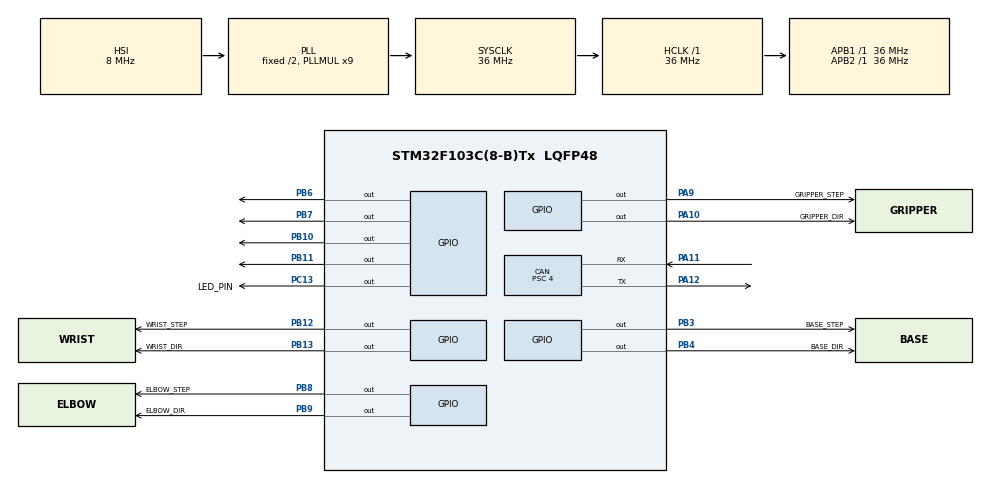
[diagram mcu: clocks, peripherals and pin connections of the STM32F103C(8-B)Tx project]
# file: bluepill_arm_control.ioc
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CAN.BS1=CAN_BS1_15TQ
CAN.BS2=CAN_BS2_2TQ
CAN.CalculateBaudRate=500000
CAN.CalculateTimeBit=2000
CAN.CalculateTimeQuantum=111.11111111111111
CAN.NART=ENABLE
CAN.Prescaler=4
CAN.SJW=CAN_SJW_2TQ
Mcu.Family=STM32F1
Mcu.Name=STM32F103C(8-B)Tx
Mcu.Package=LQFP48
NVIC.PriorityGroup=NVIC_PRIORITYGROUP_4
NVIC.USB_LP_CAN1_RX0_IRQn=true\:0\:0\:false\:false\:true\:true\:true\:true
PA10.GPIO_Label=GRIPPER_DIR
PA10.Signal=GPIO_Output
PA11.Mode=CAN_Activate
PA11.Signal=CAN_RX
PA12.Mode=CAN_Activate
PA12.Signal=CAN_TX
PA13.Mode=Serial_Wire
PA13.Signal=SYS_JTMS-SWDIO
PA14.Mode=Serial_Wire
PA14.Signal=SYS_JTCK-SWCLK
PA9.GPIO_Label=GRIPPER_STEP
PA9.Signal=GPIO_Output
PB10.Signal=GPIO_Output
PB11.Signal=GPIO_Output
PB12.GPIO_Label=WRIST_STEP
PB12.Signal=GPIO_Output
PB13.GPIO_Label=WRIST_DIR
PB13.Signal=GPIO_Output
PB3.GPIO_Label=BASE_STEP
PB3.Signal=GPIO_Output
PB4.GPIO_Label=BASE_DIR
PB4.Signal=GPIO_Output
PB6.Signal=GPIO_Output
PB7.Signal=GPIO_Output
PB8.GPIO_Label=ELBOW_STEP
PB8.Signal=GPIO_Output
PB9.GPIO_Label=ELBOW_DIR
PB9.Signal=GPIO_Output
PC13-TAMPER-RTC.GPIO_Label=LED_PIN
PC13-TAMPER-RTC.Signal=GPIO_Output
PD0-OSC_IN.Mode=HSE-External-Oscillator
PD0-OSC_IN.Signal=RCC_OSC_IN
PD1-OSC_OUT.Mode=HSE-External-Oscillator
PD1-OSC_OUT.Signal=RCC_OSC_OUT
ProjectManager.HeapSize=0x200
ProjectManager.StackSize=0x400
ProjectManager.TargetToolchain=STM32CubeIDE
RCC.AHBFreq_Value=36000000
RCC.APB1Freq_Value=36000000
RCC.APB1TimFreq_Value=36000000
RCC.APB2Freq_Value=36000000
RCC.APB2TimFreq_Value=36000000
RCC.HCLKFreq_Value=36000000
RCC.HSEDivPLL=RCC_HSE_PREDIV_DIV2
RCC.HSE_VALUE=16000000
RCC.PLLMUL=RCC_PLL_MUL9
RCC.SYSCLKFreq_VALUE=36000000
RCC.SYSCLKSource=RCC_SYSCLKSOURCE_PLLCLK
RCC.USBFreq_Value=36000000
board=custom

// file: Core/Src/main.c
/* USER CODE BEGIN Header */
/**
  ******************************************************************************
  * @file           : main.c
  * @brief          : Main program body
  ******************************************************************************
  * @attention
  *
  * Copyright (c) 2024 STMicroelectronics.
  * All rights reserved.
  *
  * This software is licensed under terms that can be found in the LICENSE file
  * in the root directory of this software component.
  * If no LICENSE file comes with this software, it is provided AS-IS.
  *
  ******************************************************************************
  */
/* USER CODE END Header */
#include "main.h"

/* USER CODE BEGIN PTD */

//ENUM MUST MATCH DESIRED JOINT IDs
//ORDER IS NOT ABRITRARY
typedef enum
{
	RAD_JOINT_WRIST_FLEX = 0,
	RAD_JOINT_GRIPPER,
	RAD_JOINT_BASE,
	RAD_JOINT_ELBOW,
	RAD_JOINT_WRIST_ROTATE,
	RAD_JOINT_SHOULDER
} RAD_JOINT_NUMBER;

typedef struct
{
	RAD_JOINT_NUMBER id;
	GPIO_TypeDef *step_port;
	uint16_t step_pin;
	GPIO_TypeDef *dir_port;
	uint16_t dir_pin;
	uint16_t isHigh;

} RAD_JOINT;

/* USER CODE END PTD */

CAN_HandleTypeDef hcan;

/* USER CODE BEGIN PV */

CAN_TxHeaderTypeDef TxHeader;
uint8_t TxData[8];
uint32_t TxMailbox;

// CAN Rx
CAN_FilterTypeDef canfilterconfig;
CAN_RxHeaderTypeDef RxHeader;
uint8_t RxData[8];
int speed;
uint32_t can_timer;
uint32_t cycle_timer;

uint32_t half_cycle_time_us = 1000;

uint8_t can_id = 0x18;

RAD_JOINT_NUMBER mostRecentJointId;
RAD_JOINT *mostRecentJoint;

/* USER CODE END PV */

void SystemClock_Config(void);
static void MX_GPIO_Init(void);
static void MX_CAN_Init(void);

/* USER CODE BEGIN 0 */

void setupTxCAN()
{
    TxHeader.StdId = 0x321;
    TxHeader.ExtId = can_id;
    TxHeader.RTR = CAN_RTR_DATA;
    TxHeader.IDE = CAN_ID_EXT;
    TxHeader.DLC = 8;
    TxHeader.TransmitGlobalTime = DISABLE;

    TxData[0] = 0xA0;
    TxData[1] = 0xA1;
    TxData[2] = 0xA2;
    TxData[3] = 0xA3;
    TxData[4] = 0xA4;
    TxData[5] = 0xA5;
    TxData[6] = 0xA6;
    TxData[7] = 0xA9;
}

void setupRxCAN()
{
    canfilterconfig.FilterBank = 0;
    canfilterconfig.FilterMode = CAN_FILTERMODE_IDMASK;
    canfilterconfig.FilterScale = CAN_FILTERSCALE_32BIT;
    canfilterconfig.FilterIdHigh = 0x0000;
    canfilterconfig.FilterIdLow = ((can_id) << 8 | 0x0054) << 3;
    canfilterconfig.FilterMaskIdHigh = 0x0000;
    canfilterconfig.FilterMaskIdLow = (0x78FE) << 3;
    canfilterconfig.FilterFIFOAssignment = CAN_RX_FIFO0;
    canfilterconfig.FilterActivation = ENABLE;
    canfilterconfig.SlaveStartFilterBank = 14;

    HAL_CAN_ConfigFilter(&hcan, &canfilterconfig);
    HAL_CAN_ActivateNotification(&hcan, CAN_IT_RX_FIFO0_MSG_PENDING); //enable interrupts
}

void txCAN()
{
    HAL_StatusTypeDef can_result = HAL_CAN_AddTxMessage(&hcan, &TxHeader, TxData, &TxMailbox);

    if (can_result != HAL_OK)
    {
        Error_Handler();
    }
}

void HAL_CAN_RxFifo0MsgPendingCallback(CAN_HandleTypeDef *CanHandle)
{
    /* Get RX message */
    if (HAL_CAN_GetRxMessage(CanHandle, CAN_RX_FIFO0, &RxHeader, RxData)
            != HAL_OK)
    {
        /* Reception Error */
        Error_Handler();
    }

    can_timer = 0;

//    HAL_GPIO_TogglePin(GPIOB, GPIO_PIN_2);
    // Echo received CAN message

    //RxData[7] = RxData[7] + 1;
    HAL_CAN_AddTxMessage(&hcan, &TxHeader, RxData, &TxMailbox);

    if ((RxHeader.ExtId & 0xFF) == 0x54)
    {
    	//counter clockwise

    	if (RxData[7] != 0)
    	{
    		speed = 0 + RxData[7];
    	}
    	else
    	{
    		speed = 0;
    	}

    	mostRecentJointId = (RxHeader.ExtId & 0x700) >> 8;
    }
    else if ((RxHeader.ExtId & 0xFF) == 0x55)
    {
    	//clockwise clockwise

    	if (RxData[7] != 0)
    	{
    		speed = 0 - RxData[7];
    	}
    	else
    	{
    		speed = 0;
    	}

    	mostRecentJointId = (RxHeader.ExtId & 0x700) >> 8;
    }

}

uint32_t getUs(void)
{

    uint32_t usTicks = HAL_RCC_GetSysClockFreq() / 1000000;

    register uint32_t ms, cycle_cnt;
    do
    {
        ms = HAL_GetTick();
        cycle_cnt = SysTick->VAL;
    } while (ms != HAL_GetTick());
    return (ms * 1000) + (usTicks * 1000 - cycle_cnt) / usTicks;
}

void delayUs(uint16_t micros)
{
    uint32_t start = getUs();
    while (getUs() - start < (uint32_t) micros)
    {
        asm("nop");
    }
}

/* USER CODE END 0 */

int main(void)
{

  /* USER CODE BEGIN 1 */
	RAD_JOINT base = (RAD_JOINT){RAD_JOINT_BASE, BASE_STEP_GPIO_Port, BASE_STEP_Pin, BASE_DIR_GPIO_Port, BASE_DIR_Pin};
	RAD_JOINT elbow  = (RAD_JOINT){RAD_JOINT_ELBOW, ELBOW_STEP_GPIO_Port, ELBOW_STEP_Pin, ELBOW_DIR_GPIO_Port, ELBOW_DIR_Pin, 0};
	RAD_JOINT wrist  = (RAD_JOINT){RAD_JOINT_WRIST_FLEX, WRIST_STEP_GPIO_Port, WRIST_STEP_Pin, WRIST_DIR_GPIO_Port, WRIST_DIR_Pin};
	RAD_JOINT gripper  = (RAD_JOINT){RAD_JOINT_GRIPPER, GRIPPER_STEP_GPIO_Port, GRIPPER_STEP_Pin, GRIPPER_DIR_GPIO_Port, GRIPPER_DIR_Pin};

  /* USER CODE END 1 */

  /* MCU Configuration--------------------------------------------------------*/

  /* Reset of all peripherals, Initializes the Flash interface and the Systick. */
  HAL_Init();

  /* Configure the system clock */
  SystemClock_Config();

  /* Initialize all configured peripherals */
  MX_GPIO_Init();
  MX_CAN_Init();
  /* USER CODE BEGIN 2 */

  setupTxCAN();
  setupRxCAN();

	uint32_t prev = 0;
    uint32_t delay;

  /* USER CODE END 2 */

  /* Infinite loop */
  /* USER CODE BEGIN WHILE */
  while (1)
  {
	  can_timer += HAL_GetTick() - prev;
	  cycle_timer += HAL_GetTick() - prev;
	  prev = HAL_GetTick();

	  if (can_timer % 1000)
	  {
		  TxData[5] = mostRecentJoint->id;
		  TxData[6] = speed;
		  TxData[7] = mostRecentJoint->isHigh;
		  txCAN();
		  HAL_GPIO_TogglePin(LED_PIN_GPIO_Port, LED_PIN_Pin);

	  }

	  if (speed != 0 || can_timer > 4000)
	  {
		  //CAN timeout
		  speed = 0;
	  }

	  //mostRecentJointId = 3;
	  switch (mostRecentJointId)
	  {
		  case RAD_JOINT_BASE:
		  {
			  mostRecentJoint = &base;
			  break;
		  }
		  case RAD_JOINT_WRIST_FLEX:
		  {
			  mostRecentJoint = &wrist;
			  break;
		  }
		  case RAD_JOINT_ELBOW:
		  {
			  mostRecentJoint = &elbow;
			  break;
		  }
		  case RAD_JOINT_GRIPPER:
		  {
			  mostRecentJoint = &gripper;
			  break;
		  }
		  default:
			  speed = 0;
			  break;

	  }

	  //speed = 0;

//	  HAL_GPIO_WritePin(GPIOB, GPIO_PIN_10, GPIO_PIN_SET);
//	  HAL_GPIO_WritePin(GPIOB, GPIO_PIN_11, GPIO_PIN_SET);
//
//	  HAL_GPIO_WritePin(GPIOA, GPIO_PIN_9, GPIO_PIN_SET);
//	  HAL_GPIO_WritePin(GPIOA, GPIO_PIN_10, GPIO_PIN_SET);
//
//	  HAL_GPIO_WritePin(GPIOB, GPIO_PIN_6, GPIO_PIN_SET);
//	  HAL_GPIO_WritePin(GPIOB, GPIO_PIN_7, GPIO_PIN_SET);
//	  HAL_GPIO_WritePin(GPIOB, GPIO_PIN_8, GPIO_PIN_SET);
//	  HAL_GPIO_WritePin(GPIOB, GPIO_PIN_9, GPIO_PIN_SET);
//	  HAL_GPIO_WritePin(GPIOB, GPIO_PIN_12, GPIO_PIN_SET);
//	  HAL_GPIO_WritePin(GPIOB, GPIO_PIN_13, GPIO_PIN_SET);
//
//	  HAL_Delay(1000);
//
//	  HAL_GPIO_WritePin(GPIOB, GPIO_PIN_10, GPIO_PIN_RESET);
//	  	  HAL_GPIO_WritePin(GPIOB, GPIO_PIN_11, GPIO_PIN_RESET);
//
//	  	  HAL_GPIO_WritePin(GPIOA, GPIO_PIN_9, GPIO_PIN_RESET);
//	  	  HAL_GPIO_WritePin(GPIOA, GPIO_PIN_10, GPIO_PIN_RESET);
//
//	  	 HAL_GPIO_WritePin(GPIOB, GPIO_PIN_6, GPIO_PIN_RESET);
//	  		  HAL_GPIO_WritePin(GPIOB, GPIO_PIN_7, GPIO_PIN_RESET);
//	  		  HAL_GPIO_WritePin(GPIOB, GPIO_PIN_8, GPIO_PIN_RESET);
//	  		  HAL_GPIO_WritePin(GPIOB, GPIO_PIN_9, GPIO_PIN_RESET);
//	  		  HAL_GPIO_WritePin(GPIOB, GPIO_PIN_12, GPIO_PIN_RESET);
//	  		  HAL_GPIO_WritePin(GPIOB, GPIO_PIN_13, GPIO_PIN_RESET);

	  	//HAL_Delay(1000);

	delay = 3.9*(255 - speed) + 3; //arbitrary speed calculation

	  if (speed > 0)
	  {

		  HAL_GPIO_WritePin(mostRecentJoint->dir_port, mostRecentJoint->dir_pin, GPIO_PIN_SET);

		  if (cycle_timer > delay && mostRecentJoint->isHigh)
		  {
			  HAL_GPIO_WritePin(mostRecentJoint->step_port, mostRecentJoint->step_pin, GPIO_PIN_RESET);
			  mostRecentJoint->isHigh = 0;
			  cycle_timer = 0;
		  }
		  else if (cycle_timer > delay && !(mostRecentJoint->isHigh))
		  {
			  HAL_GPIO_WritePin(mostRecentJoint->step_port, mostRecentJoint->step_pin, GPIO_PIN_SET);
			  mostRecentJoint->isHigh = 1;
			  cycle_timer = 0;
		  }
	  }
	  else if (speed < 0)
	  {

		  HAL_GPIO_WritePin(mostRecentJoint->dir_port, mostRecentJoint->dir_pin, GPIO_PIN_RESET);

		  if (cycle_timer > delay && mostRecentJoint->isHigh)
		  {
			  HAL_GPIO_WritePin(mostRecentJoint->step_port, mostRecentJoint->step_pin, GPIO_PIN_RESET);
			  mostRecentJoint->isHigh = 0;
			  cycle_timer = 0;
		  }
		  else if (cycle_timer > delay && !(mostRecentJoint->isHigh))
		  {
			  HAL_GPIO_WritePin(mostRecentJoint->step_port, mostRecentJoint->step_pin, GPIO_PIN_SET);
			  mostRecentJoint->isHigh = 1;
			  cycle_timer = 0;
		  }
	  }

//
//

    /* USER CODE END WHILE */

  }
}

void SystemClock_Config(void)
{
  RCC_OscInitTypeDef RCC_OscInitStruct = {0};
  RCC_ClkInitTypeDef RCC_ClkInitStruct = {0};

  /** Initializes the RCC Oscillators according to the specified parameters
  * in the RCC_OscInitTypeDef structure.
  */
  RCC_OscInitStruct.OscillatorType = RCC_OSCILLATORTYPE_HSI;
  RCC_OscInitStruct.HSIState = RCC_HSI_ON;
  RCC_OscInitStruct.HSICalibrationValue = RCC_HSICALIBRATION_DEFAULT;
  RCC_OscInitStruct.PLL.PLLState = RCC_PLL_ON;
  RCC_OscInitStruct.PLL.PLLSource = RCC_PLLSOURCE_HSI_DIV2;
  RCC_OscInitStruct.PLL.PLLMUL = RCC_PLL_MUL9;
  if (HAL_RCC_OscConfig(&RCC_OscInitStruct) != HAL_OK)
  {
    Error_Handler();
  }

  /** Initializes the CPU, AHB and APB buses clocks
  */
  RCC_ClkInitStruct.ClockType = RCC_CLOCKTYPE_HCLK|RCC_CLOCKTYPE_SYSCLK
                              |RCC_CLOCKTYPE_PCLK1|RCC_CLOCKTYPE_PCLK2;
  RCC_ClkInitStruct.SYSCLKSource = RCC_SYSCLKSOURCE_PLLCLK;
  RCC_ClkInitStruct.AHBCLKDivider = RCC_SYSCLK_DIV1;
  RCC_ClkInitStruct.APB1CLKDivider = RCC_HCLK_DIV1;
  RCC_ClkInitStruct.APB2CLKDivider = RCC_HCLK_DIV1;

  if (HAL_RCC_ClockConfig(&RCC_ClkInitStruct, FLASH_LATENCY_1) != HAL_OK)
  {
    Error_Handler();
  }
}

static void MX_CAN_Init(void)
{

  hcan.Instance = CAN1;
  hcan.Init.Prescaler = 4;
  hcan.Init.Mode = CAN_MODE_NORMAL;
  hcan.Init.SyncJumpWidth = CAN_SJW_2TQ;
  hcan.Init.TimeSeg1 = CAN_BS1_15TQ;
  hcan.Init.TimeSeg2 = CAN_BS2_2TQ;
  hcan.Init.TimeTriggeredMode = DISABLE;
  hcan.Init.AutoBusOff = DISABLE;
  hcan.Init.AutoWakeUp = DISABLE;
  hcan.Init.AutoRetransmission = ENABLE;
  hcan.Init.ReceiveFifoLocked = DISABLE;
  hcan.Init.TransmitFifoPriority = DISABLE;
  if (HAL_CAN_Init(&hcan) != HAL_OK)
  {
    Error_Handler();
  }
  /* USER CODE BEGIN CAN_Init 2 */

  if (HAL_CAN_Start(&hcan) != HAL_OK)
{
	/* Start Error */
	Error_Handler();
}

  /* USER CODE END CAN_Init 2 */

}

static void MX_GPIO_Init(void)
{
  GPIO_InitTypeDef GPIO_InitStruct = {0};
/* USER CODE BEGIN MX_GPIO_Init_1 */
  //__HAL_RCC_AFIO_CLK_ENABLE();
  __HAL_AFIO_REMAP_SWJ_NOJTAG();
/* USER CODE END MX_GPIO_Init_1 */

  /* GPIO Ports Clock Enable */
  __HAL_RCC_GPIOC_CLK_ENABLE();
  __HAL_RCC_GPIOD_CLK_ENABLE();
  __HAL_RCC_GPIOB_CLK_ENABLE();
  __HAL_RCC_GPIOA_CLK_ENABLE();

  /*Configure GPIO pin Output Level */
  HAL_GPIO_WritePin(LED_PIN_GPIO_Port, LED_PIN_Pin, GPIO_PIN_RESET);

  /*Configure GPIO pin Output Level */
  HAL_GPIO_WritePin(GPIOB, GPIO_PIN_10|GPIO_PIN_11|WRIST_STEP_Pin|WRIST_DIR_Pin
                          |BASE_STEP_Pin|BASE_DIR_Pin|GPIO_PIN_6|GPIO_PIN_7
                          |ELBOW_STEP_Pin|ELBOW_DIR_Pin, GPIO_PIN_RESET);

  /*Configure GPIO pin Output Level */
  HAL_GPIO_WritePin(GPIOA, GRIPPER_STEP_Pin|GRIPPER_DIR_Pin, GPIO_PIN_RESET);

  /*Configure GPIO pin : LED_PIN_Pin */
  GPIO_InitStruct.Pin = LED_PIN_Pin;
  GPIO_InitStruct.Mode = GPIO_MODE_OUTPUT_PP;
  GPIO_InitStruct.Pull = GPIO_NOPULL;
  GPIO_InitStruct.Speed = GPIO_SPEED_FREQ_LOW;
  HAL_GPIO_Init(LED_PIN_GPIO_Port, &GPIO_InitStruct);

  /*Configure GPIO pins : PB10 PB11 WRIST_STEP_Pin WRIST_DIR_Pin
                           BASE_STEP_Pin BASE_DIR_Pin PB6 PB7
                           ELBOW_STEP_Pin ELBOW_DIR_Pin */
  GPIO_InitStruct.Pin = GPIO_PIN_10|GPIO_PIN_11|WRIST_STEP_Pin|WRIST_DIR_Pin
                          |BASE_STEP_Pin|BASE_DIR_Pin|GPIO_PIN_6|GPIO_PIN_7
                          |ELBOW_STEP_Pin|ELBOW_DIR_Pin;
  GPIO_InitStruct.Mode = GPIO_MODE_OUTPUT_PP;
  GPIO_InitStruct.Pull = GPIO_NOPULL;
  GPIO_InitStruct.Speed = GPIO_SPEED_FREQ_LOW;
  HAL_GPIO_Init(GPIOB, &GPIO_InitStruct);

  /*Configure GPIO pins : GRIPPER_STEP_Pin GRIPPER_DIR_Pin */
  GPIO_InitStruct.Pin = GRIPPER_STEP_Pin|GRIPPER_DIR_Pin;
  GPIO_InitStruct.Mode = GPIO_MODE_OUTPUT_PP;
  GPIO_InitStruct.Pull = GPIO_NOPULL;
  GPIO_InitStruct.Speed = GPIO_SPEED_FREQ_LOW;
  HAL_GPIO_Init(GPIOA, &GPIO_InitStruct);

}

void Error_Handler(void)
{
  __disable_irq();
  while (1)
  {
  }
}
